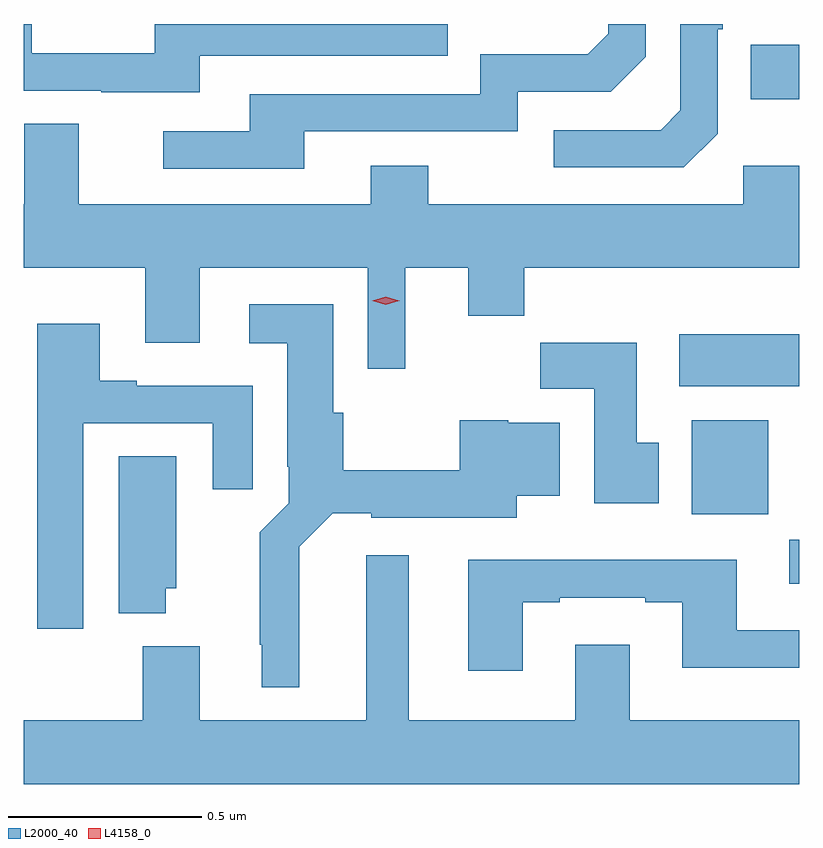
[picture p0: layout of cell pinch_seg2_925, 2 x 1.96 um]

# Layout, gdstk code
import gdstk
lib = gdstk.Library(unit=1e-6, precision=1e-09)
def R(c, l, rs):  # rectangles x0, y0, x1, y1
    for r in rs: c.add(gdstk.rectangle(r[:2], r[2:], *l))
def P(c, l, *ps):  # polygons
    for p in ps: c.add(gdstk.Polygon(p, *l))
L2000_40 = (2000, 40)
L4158_0 = (4158, 0)

pinch_seg2_925 = lib.new_cell('pinch_seg2_925')
R(pinch_seg2_925, L2000_40, [(379.547,650.817,379.572,650.93), (379.295,650.996,379.492,651.238), (379.263,651.326,379.572,651.46), (379.447,652.067,379.572,652.207)])
P(pinch_seg2_925, L2000_40, [(378.025,652.179),(378.665,652.179),(378.665,652.261),(377.91,652.261),(377.91,652.185),(377.592,652.185),(377.592,652.261),(377.572,652.261),(377.572,652.089),(377.771,652.089),(377.771,652.085),(378.025,652.085)],
  [(378.295,651.984),(378.846,651.984),(378.846,652.086),(379.086,652.086),(379.176,652.176),(379.176,652.261),(379.08,652.261),(379.08,652.236),(379.027,652.183),(378.75,652.183),(378.75,652.08),(378.155,652.08),(378.155,651.984),(377.931,651.984),(377.931,651.888),(378.295,651.888)],
  [(379.362,651.978),(379.362,652.247),(379.375,652.247),(379.375,652.261),(379.266,652.261),(379.266,652.038),(379.215,651.987),(378.939,651.987),(378.939,651.891),(379.275,651.891)],
  [(378.556,651.632),(378.719,651.632),(378.719,651.508),(378.863,651.508),(378.863,651.632),(379.572,651.632),(379.572,651.895),(379.428,651.895),(379.428,651.796),(378.615,651.796),(378.615,651.895),(378.467,651.895),(378.467,651.796),(377.713,651.796),(377.713,652.004),(377.573,652.004),(377.573,651.796),(377.572,651.796),(377.572,651.632),(377.885,651.632),(377.885,651.438),(378.025,651.438),(378.025,651.632),(378.459,651.632),(378.459,651.372),(378.556,651.372)],
  [(378.283,650.912),(378.369,650.999),(378.468,650.999),(378.468,650.987),(378.844,650.987),(378.844,651.044),(378.955,651.044),(378.955,651.232),(378.822,651.232),(378.822,651.238),(378.697,651.238),(378.697,651.109),(378.396,651.109),(378.396,651.258),(378.37,651.258),(378.37,651.538),(378.153,651.538),(378.153,651.437),(378.251,651.437),(378.251,651.118),(378.255,651.118),(378.255,651.024),(378.181,650.95),(378.181,650.659),(378.185,650.659),(378.185,650.549),(378.283,650.549)],
  [(377.725,651.231),(378.059,651.231),(378.059,651.06),(378.163,651.06),(378.163,651.327),(377.863,651.327),(377.863,651.34),(377.767,651.34),(377.767,651.487),(377.606,651.487),(377.606,650.7),(377.725,650.7)],
  [(379.21,651.18),(379.153,651.18),(379.153,651.439),(378.904,651.439),(378.904,651.32),(379.043,651.32),(379.043,651.024),(379.21,651.024)],
  [(377.938,650.805),(377.965,650.805),(377.965,651.146),(377.816,651.146),(377.816,650.741),(377.938,650.741)],
  [(379.572,650.464),(379.135,650.464),(379.135,650.659),(378.995,650.659),(378.995,650.464),(378.565,650.464),(378.565,650.89),(378.455,650.89),(378.455,650.464),(378.025,650.464),(378.025,650.656),(377.878,650.656),(377.878,650.464),(377.572,650.464),(377.572,650.3),(379.572,650.3)],
  [(378.859,650.769),(378.955,650.769),(378.955,650.781),(379.175,650.781),(379.175,650.769),(379.271,650.769),(379.271,650.6),(379.572,650.6),(379.572,650.697),(379.411,650.697),(379.411,650.878),(378.719,650.878),(378.719,650.592),(378.859,650.592)])
P(pinch_seg2_925, L4158_0, [(378.506,651.537),(378.471,651.547),(378.471,651.547),(378.471,651.547),(378.506,651.557),(378.541,651.547),(378.542,651.547),(378.541,651.547)])

lib.write_gds('pinch_seg2_925.gds')
